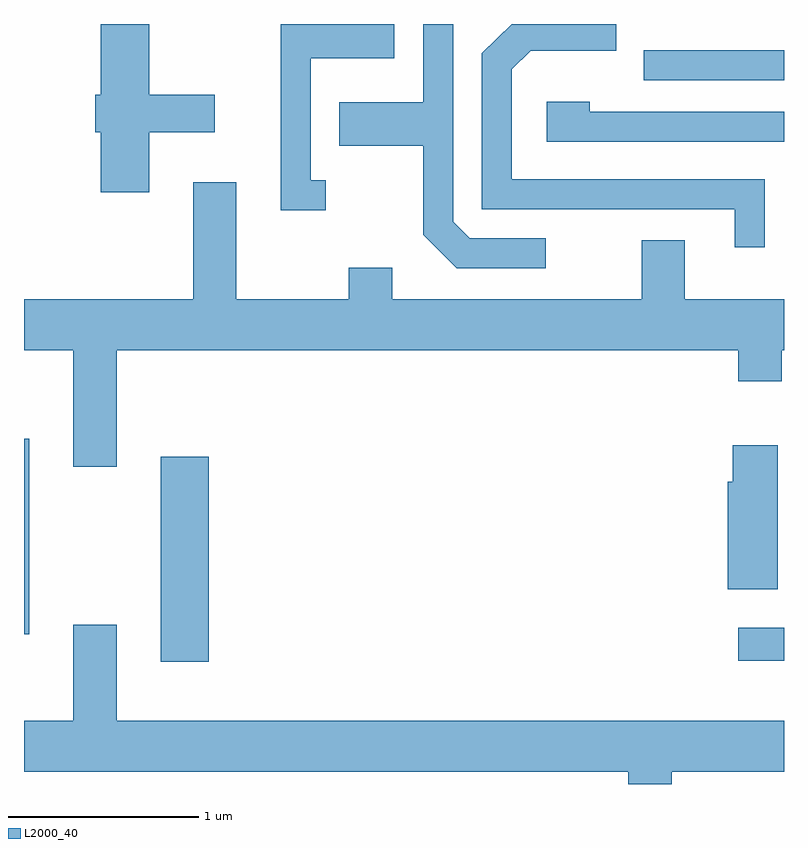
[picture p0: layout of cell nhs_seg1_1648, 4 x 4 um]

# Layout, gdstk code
import gdstk
lib = gdstk.Library(unit=1e-6, precision=1e-09)
def R(c, l, rs):  # rectangles x0, y0, x1, y1
    for r in rs: c.add(gdstk.rectangle(r[:2], r[2:], *l))
def P(c, l, *ps):  # polygons
    for p in ps: c.add(gdstk.Polygon(p, *l))
L2000_40 = (2000, 40)

nhs_seg1_1648 = lib.new_cell('nhs_seg1_1648')
R(nhs_seg1_1648, L2000_40, [(236.331,922.356,236.584,923.434), (239.371,922.361,239.611,922.534), (235.611,922.501,235.639,923.529), (238.873,925.416,239.611,925.574), (236.501,925.711,236.729,925.712)])
P(nhs_seg1_1648, L2000_40, [(238.358,924.584),(237.957,924.584),(237.869,924.672),(237.869,925.712),(237.711,925.712),(237.711,925.299),(237.271,925.299),(237.271,925.071),(237.711,925.071),(237.711,924.604),(237.889,924.426),(238.358,924.426)],
  [(239.509,924.894),(238.179,924.894),(238.179,925.474),(238.277,925.571),(238.729,925.571),(238.729,925.712),(238.177,925.712),(238.021,925.557),(238.021,924.736),(239.351,924.736),(239.351,924.538),(239.509,924.538)],
  [(237.198,924.889),(237.119,924.889),(237.119,925.531),(237.559,925.531),(237.559,925.712),(236.961,925.712),(236.961,924.731),(237.198,924.731)],
  [(236.269,925.141),(236.614,925.141),(236.614,925.339),(236.269,925.339),(236.269,925.712),(236.016,925.712),(236.016,925.339),(235.986,925.339),(235.986,925.141),(236.016,925.141),(236.016,924.826),(236.269,924.826)],
  [(239.611,925.249),(238.589,925.249),(238.589,925.304),(238.361,925.304),(238.361,925.091),(239.611,925.091)],
  [(236.099,923.996),(239.371,923.996),(239.371,923.831),(239.599,923.831),(239.599,923.996),(239.611,923.996),(239.611,924.264),(239.089,924.264),(239.089,924.574),(238.861,924.574),(238.861,924.264),(237.549,924.264),(237.549,924.429),(237.321,924.429),(237.321,924.264),(236.729,924.264),(236.729,924.879),(236.501,924.879),(236.501,924.264),(235.611,924.264),(235.611,923.996),(235.871,923.996),(235.871,923.381),(236.099,923.381)],
  [(239.579,923.494),(239.341,923.494),(239.341,923.304),(239.316,923.304),(239.316,922.736),(239.579,922.736)],
  [(239.019,921.776),(239.611,921.776),(239.611,922.044),(236.099,922.044),(236.099,922.549),(235.871,922.549),(235.871,922.044),(235.611,922.044),(235.611,921.776),(238.791,921.776),(238.791,921.712),(239.019,921.712)])

lib.write_gds('nhs_seg1_1648.gds')
